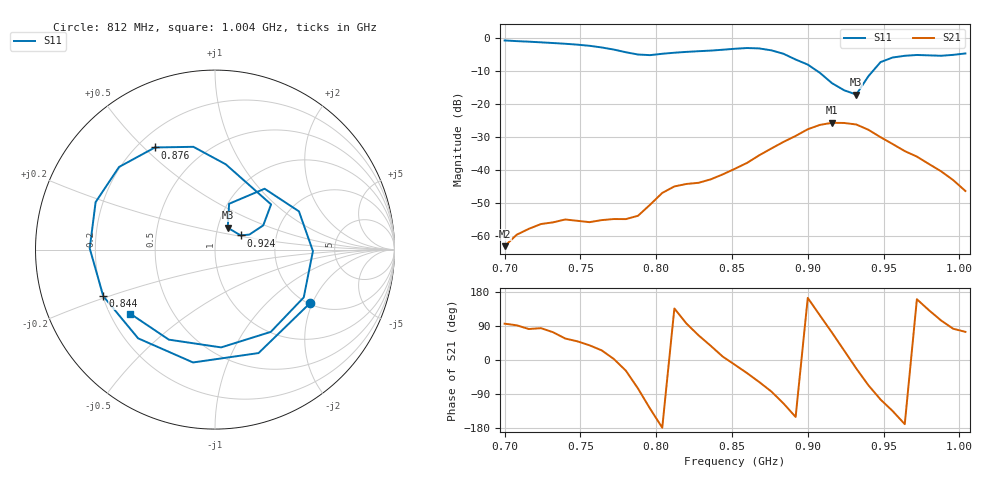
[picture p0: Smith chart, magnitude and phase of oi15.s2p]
# Hz S RI R 50
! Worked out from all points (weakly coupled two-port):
!   39 points, 700 MHz to 1.004 GHz, reference 50 ohm
!   highest |S21| = -25.60 dB at 916 MHz (marker M1); lowest = -63.0 dB at 700 MHz (marker M2)
!   lowest |S11| = -17.0 dB at 932 MHz (marker M3), VSWR 1.33, Z = 55.8 + j13.9 ohm
!   |S11| at or under -10 dB: 906.6 MHz to 942.7 MHz (36.12 MHz wide, 3.91 % of centre)
!   S12 and S22 are empty: the file has one direction only
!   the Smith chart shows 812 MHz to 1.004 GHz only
!   S11 on the Smith chart (normalised r, x): 812 MHz: 2.03, -1.92; 844 MHz: 0.20, -0.19; 876 MHz: 0.27, +0.54; 924 MHz: 1.31, +0.21; 1.004 GHz: 0.28, -0.31
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7e8  0.7648 0.5332  -7.16e-05 0.000702  0 0  0 0
7.24e8  0.8319 -0.2655  0.000158 0.00152  0 0  0 0
7.4e8  0.4437 -0.7023  0.000984 0.0015  0 0  0 0
7.56e8  -0.195 -0.7488  0.00127 0.00102  0 0  0 0
7.72e8  -0.6521 -0.1881  0.00182 9.16e-05  0 0  0 0
7.8e8  -0.5735 0.2285  0.0016 -0.000857  0 0  0 0
7.88e8  -0.2222 0.5256  0.000521 -0.00197  0 0  0 0
7.96e8  0.2574 0.4954  -0.00188 -0.00235  0 0  0 0
8.04e8  0.5674 0.1439  -0.00453 -0.000105  0 0  0 0
8.12e8  0.5288 -0.2989  -0.00409 0.00396  0 0  0 0
8.28e8  -0.1223 -0.6288  0.00274 0.00585  0 0  0 0
8.44e8  -0.6223 -0.2597  0.00858 0.00131  0 0  0 0
8.52e8  -0.698 0.00655  0.0103 -0.00235  0 0  0 0
8.76e8  -0.3346 0.5691  0.00254 -0.0213  0 0  0 0
9e8  0.3125 0.2518  -0.0402 0.0116  0 0  0 0
9.08e8  0.2689 0.1351  -0.0228 0.0432  0 0  0 0
9.16e8  0.192 0.0839  0.016 0.05  0 0  0 0
9.24e8  0.1433 0.0788  0.0473 0.0221  0 0  0 0
9.32e8  0.0712 0.1218  0.0458 -0.0188  0 0  0 0
9.56e8  0.4678 0.213  -0.0176 -0.0178  0 0  0 0
9.8e8  0.3107 -0.4585  -0.00819 0.00935  0 0  0 0
1.004e9  -0.4733 -0.3562  0.00131 0.00467  0 0  0 0
